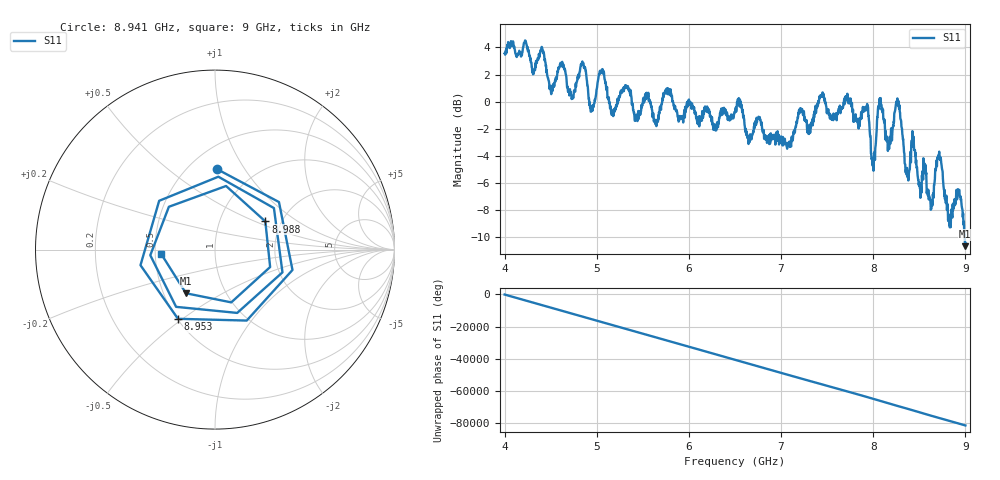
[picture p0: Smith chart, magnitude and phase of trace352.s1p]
! Created with skrf 1.8.0 (http://scikit-rf.org).
# Hz S RI R 50.0
!freq ReS11 ImS11
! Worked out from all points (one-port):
!   1601 points, 4 GHz to 9 GHz, reference 50 ohm
!   lowest |S11| = -10.7 dB at 8.997 GHz (marker M1), VSWR 1.83, Z = 32.5 - j17.3 ohm
!   |S11| at or under -10 dB: 8.992219 GHz to end of sweep
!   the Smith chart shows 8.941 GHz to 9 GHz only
!   S11 on the Smith chart (normalised r, x): 8.941 GHz: 0.68, +0.76; 8.953 GHz: 0.50, -0.48; 8.988 GHz: 1.65, +0.58; 9 GHz: 0.54, -0.03
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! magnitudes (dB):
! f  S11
! 4 GHz  3.6
! 4.406 GHz  4.0
! 4.512 GHz  0.9
! 4.625 GHz  2.9
! 4.725 GHz  0.4
! 4.856 GHz  2.8
! 4.944 GHz  -0.7
! 5.05 GHz  2.1
! 5.25 GHz  0.4
! 5.875 GHz  -0.9
! 6.5 GHz  -0.7
! 7.125 GHz  -2.8
! 7.75 GHz  0.2
! 7.925 GHz  -0.4
! 8 GHz  -4.8
! 8.069 GHz  0.2
! 8.162 GHz  -3.1
! 8.266 GHz  -0.1
! 8.375 GHz  -5.6
! 8.438 GHz  -2.6
! 8.631 GHz  -7.9
! 8.712 GHz  -4.0
! 8.822 GHz  -8.4
! 8.941 GHz  -7.0
! 8.953 GHz  -7.2
! 8.988 GHz  -9.9
! 8.997 GHz  -10.7
! 9 GHz  -10.5
